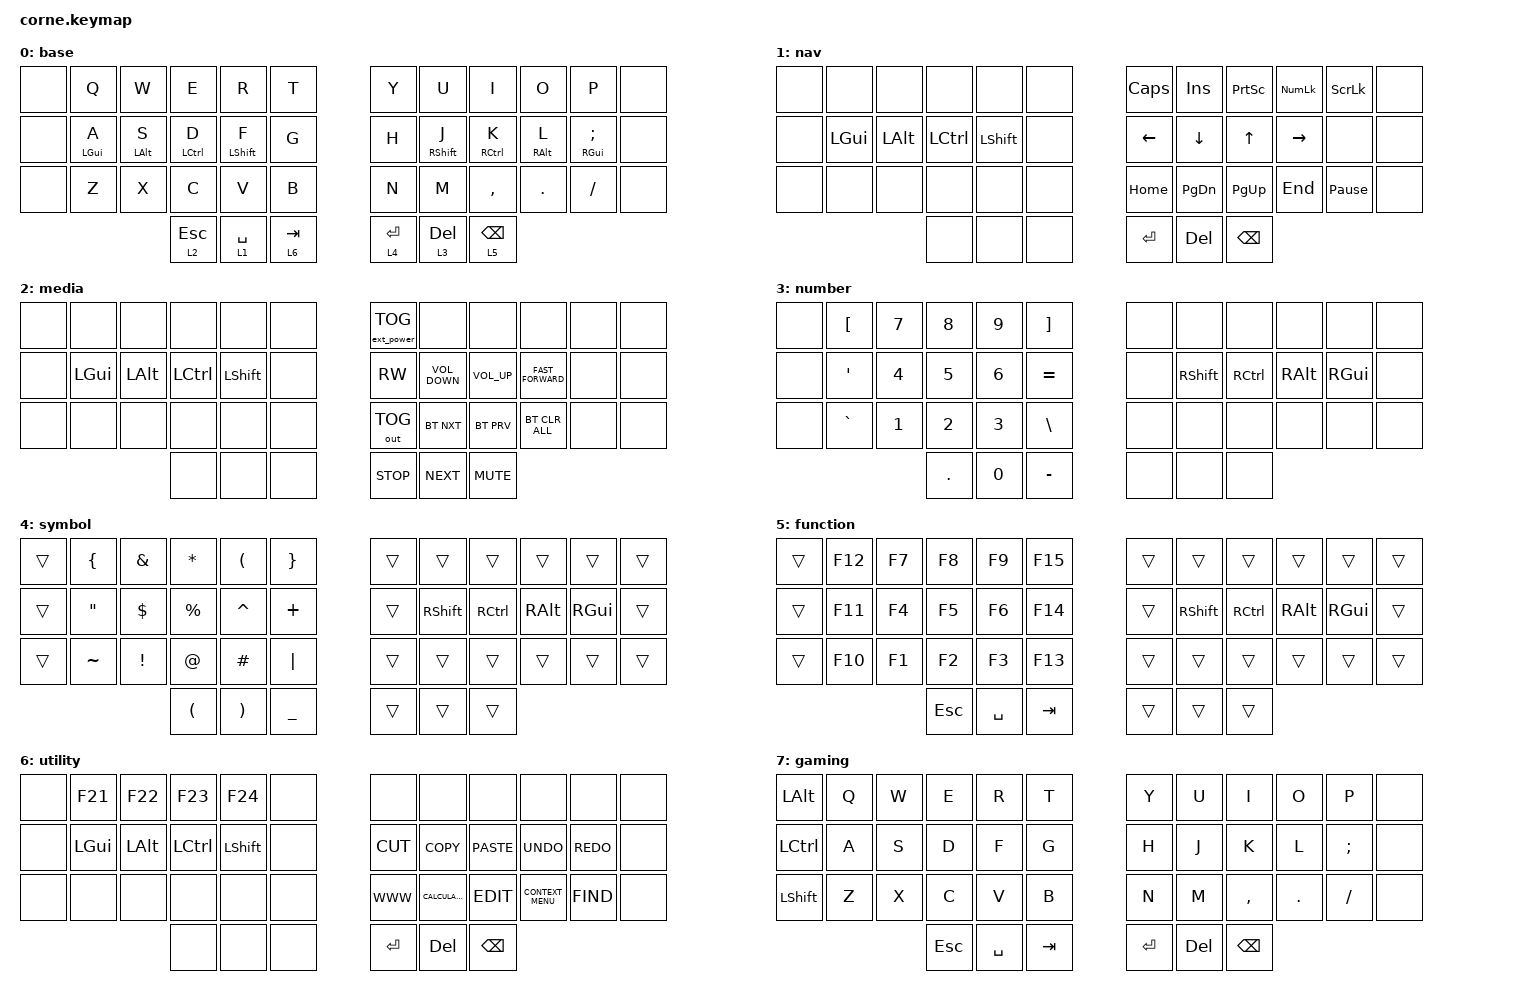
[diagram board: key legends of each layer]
/*
 * Copyright (c) 2020 The ZMK Contributors
 *
 * SPDX-License-Identifier: MIT
 */

#include <behaviors.dtsi>
#include <dt-bindings/zmk/bt.h>
#include <dt-bindings/zmk/ext_power.h>
#include <dt-bindings/zmk/keys.h>
#include <dt-bindings/zmk/outputs.h>

/ {
    behaviors {
        homerowleft: homerowleft {
            compatible = "zmk,behavior-hold-tap";
            label = "HOMEROWLEFT";
            #binding-cells = <2>;
            hold-trigger-key-positions = <36 37 38 39 40 41 6 18 30 31 19 7 8 20 32 33 21 9 10 22 34 35 23 11>;
            hold-trigger-on-release;
            flavor = "balanced";
            quick-tap-ms = <175>;
            tapping-term-ms = <280>;
            bindings = <&kp>, <&kp>;

            require-prior-idle-ms = <150>;
        };

        homerowright: homerowright {
            compatible = "zmk,behavior-hold-tap";
            label = "HOMEROWRIGHT";
            bindings = <&kp>, <&kp>;

            #binding-cells = <2>;
            tapping-term-ms = <280>;
            quick-tap-ms = <175>;
            flavor = "balanced";
            hold-trigger-on-release;
            hold-trigger-key-positions = <0 1 2 3 4 5 12 13 14 15 16 17 24 25 26 27 28 29 36 37 38 39 40 41>;
            require-prior-idle-ms = <150>;
        };
    };

    combos {
        compatible = "zmk,combos";

        toggle_gaming {
            bindings = <&tog 7>;
            key-positions = <1 25 10 34>;
            layers = <0 7>;
        };
    };

    keymap {
        compatible = "zmk,keymap";

        base {
            // -----------------------------------------------------------------------------------------
            // |  TAB |  Q  |  W  |  E  |  R  |  T  |   |  Y  |  U   |  I  |  O  |  P  | BKSP |
            // | CTRL |  A  |  S  |  D  |  F  |  G  |   |  H  |  J   |  K  |  L  |  ;  |  '   |
            // | SHFT |  Z  |  X  |  C  |  V  |  B  |   |  N  |  M   |  ,  |  .  |  /  | ESC  |
            //                    | GUI | LWR | SPC |   | ENT | RSE  | ALT |

            bindings = <
&none  &kp Q                    &kp W                    &kp E                 &kp R                      &kp T        &kp Y        &kp U                        &kp I                  &kp O                      &kp P                              &none
&none  &homerowleft LEFT_GUI A  &homerowleft LEFT_ALT S  &homerowleft LCTRL D  &homerowleft LEFT_SHIFT F  &kp G        &kp H        &homerowright RIGHT_SHIFT J  &homerowright RCTRL K  &homerowright RIGHT_ALT L  &homerowright RIGHT_GUI SEMICOLON  &none
&none  &kp Z                    &kp X                    &kp C                 &kp V                      &kp B        &kp N        &kp M                        &kp COMMA              &kp DOT                    &kp SLASH                          &none
                                                         &lt 2 ESCAPE          &lt 1 SPACE                &lt 6 TAB    &lt 4 ENTER  &lt 3 DELETE                 &lt 5 BACKSPACE
            >;
        };

        nav {
            bindings = <
&none  &none         &none         &none      &none           &none    &kp CAPSLOCK    &kp INSERT      &kp PRINTSCREEN  &kp KP_NUMLOCK  &kp SCROLLLOCK   &none
&none  &kp LEFT_GUI  &kp LEFT_ALT  &kp LCTRL  &kp LEFT_SHIFT  &none    &kp LEFT_ARROW  &kp DOWN_ARROW  &kp UP_ARROW     &kp RIGHT       &none            &none
&none  &none         &none         &none      &none           &none    &kp HOME        &kp PAGE_DOWN   &kp PAGE_UP      &kp END         &kp PAUSE_BREAK  &none
                                   &none      &none           &none    &kp RETURN      &kp DELETE      &kp BACKSPACE
            >;
        };

        media {
            bindings = <
&none  &none         &none         &none      &none           &none    &ext_power EP_TOG  &none              &none            &none               &none  &none
&none  &kp LEFT_GUI  &kp LEFT_ALT  &kp LCTRL  &kp LEFT_SHIFT  &none    &kp C_RW           &kp C_VOLUME_DOWN  &kp C_VOLUME_UP  &kp C_FAST_FORWARD  &none  &none
&none  &none         &none         &none      &none           &none    &out OUT_TOG       &bt BT_NXT         &bt BT_PRV       &bt BT_CLR_ALL      &none  &none
                                   &none      &none           &none    &kp C_STOP         &kp C_NEXT         &kp C_MUTE
            >;
        };

        number {
            bindings = <
&none  &kp LEFT_BRACKET  &kp N7  &kp N8      &kp N9  &kp RIGHT_BRACKET    &none  &none      &none      &none     &none     &none
&none  &kp SINGLE_QUOTE  &kp N4  &kp N5      &kp N6  &kp EQUAL            &none  &kp RSHFT  &kp RCTRL  &kp RALT  &kp RGUI  &none
&none  &kp GRAVE         &kp N1  &kp N2      &kp N3  &kp BACKSLASH        &none  &none      &none      &none     &none     &none
                                 &kp PERIOD  &kp N0  &kp MINUS            &none  &none      &none
            >;
        };

        symbol {
            bindings = <
&trans  &kp LEFT_BRACE     &kp AMPS    &kp ASTRK             &kp LEFT_PARENTHESIS   &kp RIGHT_BRACE    &trans  &trans     &trans     &trans    &trans    &trans
&trans  &kp DOUBLE_QUOTES  &kp DOLLAR  &kp PERCENT           &kp CARET              &kp PLUS           &trans  &kp RSHFT  &kp RCTRL  &kp RALT  &kp RGUI  &trans
&trans  &kp TILDE          &kp EXCL    &kp AT                &kp HASH               &kp PIPE           &trans  &trans     &trans     &trans    &trans    &trans
                                       &kp LEFT_PARENTHESIS  &kp RIGHT_PARENTHESIS  &kp UNDER          &trans  &trans     &trans
            >;
        };

        function {
            bindings = <
&trans  &kp F12  &kp F7  &kp F8      &kp F9     &kp F15    &trans  &trans     &trans     &trans    &trans    &trans
&trans  &kp F11  &kp F4  &kp F5      &kp F6     &kp F14    &trans  &kp RSHFT  &kp RCTRL  &kp RALT  &kp RGUI  &trans
&trans  &kp F10  &kp F1  &kp F2      &kp F3     &kp F13    &trans  &trans     &trans     &trans    &trans    &trans
                         &kp ESCAPE  &kp SPACE  &kp TAB    &trans  &trans     &trans
            >;
        };

        utility {
            bindings = <
&none  &kp F21       &kp F22       &kp F23    &kp F24         &none    &none       &none             &none          &none               &none       &none
&none  &kp LEFT_GUI  &kp LEFT_ALT  &kp LCTRL  &kp LEFT_SHIFT  &none    &kp K_CUT   &kp K_COPY        &kp K_PASTE    &kp K_UNDO          &kp K_REDO  &none
&none  &none         &none         &none      &none           &none    &kp K_WWW   &kp K_CALCULATOR  &kp K_EDIT     &kp K_CONTEXT_MENU  &kp K_FIND  &none
                                   &none      &none           &none    &kp RETURN  &kp DELETE        &kp BACKSPACE
            >;
        };

        gaming {
            bindings = <
&kp LEFT_ALT    &kp Q  &kp W  &kp E       &kp R      &kp T      &kp Y    &kp U    &kp I          &kp O    &kp P     &none
&kp LCTRL       &kp A  &kp S  &kp D       &kp F      &kp G      &kp H    &kp J    &kp K          &kp L    &kp SEMI  &none
&kp LEFT_SHIFT  &kp Z  &kp X  &kp C       &kp V      &kp B      &kp N    &kp M    &kp COMMA      &kp DOT  &kp FSLH  &none
                              &kp ESCAPE  &kp SPACE  &kp TAB    &kp RET  &kp DEL  &kp BACKSPACE
            >;
        };
    };
};
